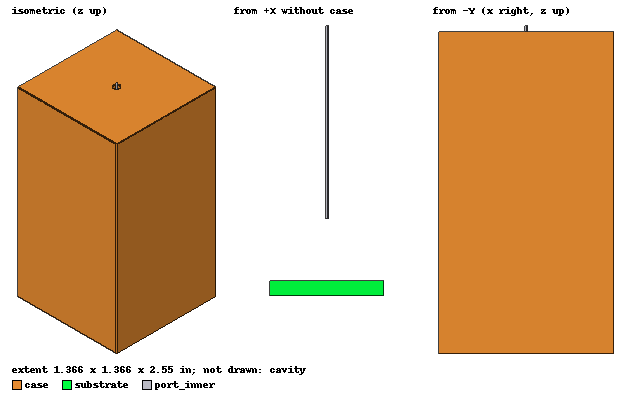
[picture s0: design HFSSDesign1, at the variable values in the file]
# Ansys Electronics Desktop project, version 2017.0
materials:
  vacuum: permittivity=1
  sapphire: permittivity=10
  perfect conductor: conductivity=1e+030
  copper: permeability=0.999991 conductivity=58000000
  air: permittivity=1.0006 permeability=1.0000004

design HFSSDesign1 (HFSS, DrivenModal, model units in)
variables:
  outer_height = 2in
  outer_radius = 0.433in
  inner_radius = 0.0557in
  inner_height = 0.45in
  antenna_gap = 0.1mm
  antenna_width = 0.35mm-0.003in
  antenna_length = 1.1mm
  Lj = 11.4nH
  strong_port_length = 1.5in
  weak_port_length = 0.305in
  positionz = 0in
  positiony = 0.1136in
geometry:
  cavity [vacuum] = cylinder(axis=Z, base_centre=(0in, 0in, 0in), radius=outer_radius, height=outer_height)
  innerpole = cylinder(axis=Z, base_centre=(0in, 0in, 0in), radius=inner_radius, height=inner_height)
  substrate [sapphire] = box(corner=(0in, -0.45in, 0.2in), size=(-0.011811024in, 0.89in, 0.11811024in))
  substrate_1 = substrate.copy()
  cavity.subtract(substrate_1)
  coordinate_system RelativeCS1 = origin=(0in, 0.105in, 0.15925512in) x=(1in, 0in, 0in) y=(0in, 1in, 0in)
  case [copper] = box(corner=(-0.683in, -0.683in, -0.25in), size=(1.366in, 1.366in, 2.5in))
  innerpole_1 = innerpole.copy()
  cavity.subtract(innerpole_1)
  case.unite(innerpole)
  cavity_1 = cavity.copy()
  substrate_2 = substrate.copy()
  case.subtract(cavity_1, substrate_2)
  port_outer = cylinder(axis=Z, base_centre=(0in, 0in, 2.3in), radius=0.0425in, height=-0.31in)
  port_inner [perfect conductor] = cylinder(axis=Z, base_centre=(0in, 0in, 2.3in), radius=0.01in, height=-strong_port_length)
  port_outer_1 = port_outer.copy()
  case.subtract(port_outer_1)
  cavity.unite(port_outer)
  port_inner_1 = port_inner.copy()
  case.subtract(port_inner_1)
  port_inner_2 = port_inner.copy()
  cavity.subtract(port_inner_2)
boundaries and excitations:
  imp: Lumped RLC Faces=cavity.face(3 of 3) CurrentLine{cavity.edge(at (-0.01, 0, 2.3)) at -0.25 along -> cavity.edge(2 of 2) at 0.25 along} Resistance=50ohm
  1: Wave Port Faces=cavity.face(3 of 3) NumModes=1 DeembedDist=strong_port_length Modes{Mode1{IntLine{middle of cavity.edge(at (-0.01, 0, 2.3)) -> middle of cavity.edge(2 of 2)} CharImp=Zpi}}
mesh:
  initial mesh: MeshMethod=AnsoftClassic
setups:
  Setup1: HfssDriven Frequency=5GHz MaxDeltaS=0.02 MaximumPasses=6 MinimumPasses=5 MinimumConvergedPasses=5 PercentRefinement=15 BasisOrder=1 PortAccuracy=2 RayDensityPerWavelength=4 MaxNumberOfBounces=5
    sweep Sweep: 4.98GHz to 5.08GHz step 1MHz; Type=Discrete SaveFields
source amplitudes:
  1:1: 1W 0deg
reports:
  XY Plot 1: re(S(1,1)), im(S(1,1)) vs Freq on Setup1 : Sweep
  XY Plot 2: im(Y(1,1)) vs Freq on Setup1 : Sweep
  XY Plot 3: ang_deg(Y(1,1)) vs Freq on Setup1 : Sweep
